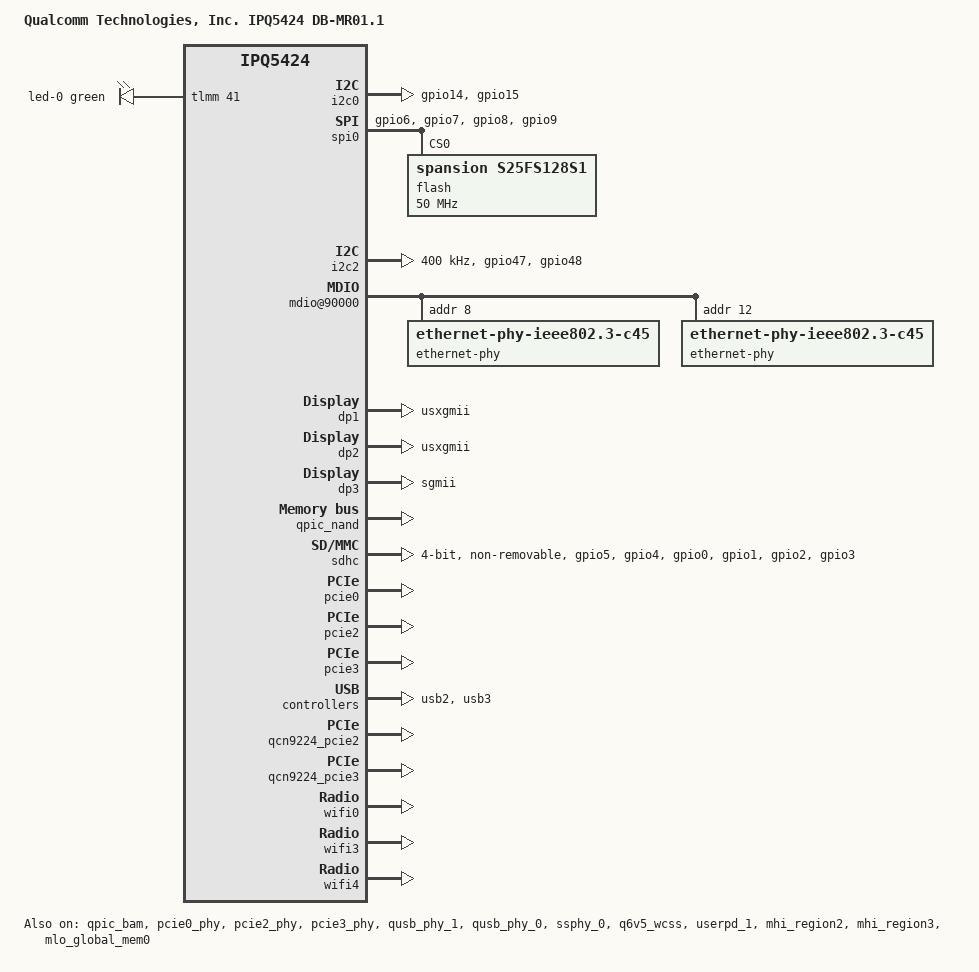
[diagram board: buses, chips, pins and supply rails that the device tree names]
// SPDX-License-Identifier: (GPL-2.0+ OR BSD-3-Clause)
/*
 * IPQ5424 DB MR01.1 board device tree source
 *
 * Copyright (c) 2020-2021 The Linux Foundation. All rights reserved.
 * Copyright (c) 2022-2024 Qualcomm Innovation Center, Inc. All rights reserved.
 */

/dts-v1/;

#include "ipq5424-rdp-common.dtsi"
#ifdef __IPQ_MEM_PROFILE_512_MB__
#include "ipq5424-512MB-default-memory.dtsi"
#else
#include "ipq5424-default-memory.dtsi"
#endif

/ {
	model = "Qualcomm Technologies, Inc. IPQ5424 DB-MR01.1";
	compatible = "qcom,ipq5424-db-mr01.1", "qcom,ipq5424";

	soc@0 {
		qupv3: geniqup@1ac0000 {

			i2c0: i2c@1a88000 {
				pinctrl-0 = <&qup_i2c0_default>;
				pinctrl-names = "default";
				status = "okay";
			};

			spi0: spi@1a90000 {
				pinctrl-0 = <&qup_spi0_default>;
				pinctrl-names = "default";
				status = "okay";

				flash@0 {
					compatible = "spansion,s25fs128s1", "jedec,spi-nor";
					#address-cells = <1>;
					#size-cells = <1>;
					reg = <0>;
					spi-max-frequency = <50000000>;
				};
			};

			/delete-node/ spi@1a94000;

			i2c2: i2c@1a94000 {
				compatible = "qcom,geni-i2c";
				reg = <0x1a94000 0x4000>;
				/* i2c2 shares spi1 clock, so use spi1_clk as per gcc driver */
				clocks = <&gcc GCC_QUPV3_SPI1_CLK>;
				clock-names = "se";
				clock-frequency = <400000>;
				interrupts = <GIC_SPI 344 IRQ_TYPE_LEVEL_HIGH>;
				pinctrl-0 = <&qup_i2c2_default>;
				pinctrl-names = "default";
				status = "okay";
			};
		};

		leds {
			compatible = "gpio-leds";
			pinctrl-0 = <&gpio_leds_default>;
			pinctrl-names = "default";

			led-0 {
				color = <LED_COLOR_ID_GREEN>;
				function = LED_FUNCTION_WLAN;
				gpios = <&tlmm 41 GPIO_ACTIVE_HIGH>;
				linux,default-trigger = "phy0tx";
				default-state = "off";
			};
		};

		mdio@90000 {
			/* GPIO36 is for port 1 QCA81xx PHY */
			/* GPIO37 is for port 2 QCA81xx PHY */
			/* GPIO18 is for QCA8386 switch */
			phy-reset-gpio = <
				&tlmm 36 GPIO_ACTIVE_LOW
				&tlmm 37 GPIO_ACTIVE_LOW
				&tlmm 18 GPIO_ACTIVE_LOW
			>;

			ethernet-phy@4 {
				reg = <8>;
				compatible ="ethernet-phy-ieee802.3-c45";
			};

			ethernet-phy@5 {
				reg = <12>;
				compatible ="ethernet-phy-ieee802.3-c45";
			};
		};

		ess-instance {
#ifdef __CONFIG_IO_COHERENCY__
			dma-coherent;
#endif
			ess-switch@3a000000 {
#ifdef __CONFIG_IO_COHERENCY__
				dma-coherent;
#endif
				switch_cpu_bmp = <0x1>;  /* cpu port bitmap */
				switch_lan_bmp = <0xc>; /* lan port bitmap */
				switch_wan_bmp = <0x2>; /* wan port bitmap */
				switch_mac_mode = <0xd>; /* mac mode for uniphy instance0*/
				switch_mac_mode1 = <0xd>; /* mac mode for uniphy instance1*/

				qcom,port_phyinfo {
					port@0 {
						port_id = <1>;
						phy_address = <8>;
						ethernet-phy-ieee802.3-c45;
					};
					port@1 {
						port_id = <2>;
						phy_address = <12>;
						ethernet-phy-ieee802.3-c45;
					};
				};

				qcom,port_ledinfo {
					port@0 {
						port = <1>;
						led_source@0 {
							source = <0>;
							mode = "normal";
							speed = "all";
							active = "low";
							blink_en = "enable";
						};
					};
					port@1 {
						port = <2>;
						led_source@0 {
							source = <0>;
							mode = "normal";
							speed = "all";
							active = "low";
							blink_en = "enable";
						};
					};
				};
			};
		};

		dp1 {
			device_type = "network";
			compatible = "qcom,nss-dp";
#ifdef __CONFIG_IO_COHERENCY__
			dma-coherent;
#endif
			qcom,id = <1>;
			reg = <0x3A500000 0x4000>;
			qcom,mactype = <1>;
			local-mac-address = [000000000000];
			qcom,phy-mdio-addr = <8>;
			qcom,link-poll = <1>;
			phy-mode = "usxgmii";
		};

		dp2 {
			device_type = "network";
			compatible = "qcom,nss-dp";
#ifdef __CONFIG_IO_COHERENCY__
			dma-coherent;
#endif
			qcom,id = <2>;
			reg = <0x3A504000 0x4000>;
			qcom,mactype = <1>;
			local-mac-address = [000000000000];
			qcom,phy-mdio-addr = <12>;
			qcom,link-poll = <1>;
			phy-mode = "usxgmii";
		};

		dp3 {
			device_type = "network";
			compatible = "qcom,nss-dp";
#ifdef __CONFIG_IO_COHERENCY__
			dma-coherent;
#endif
			qcom,id = <3>;
			reg = <0x3a001400 0x200>;
			qcom,mactype = <0>;
			local-mac-address = [000000000000];
			qcom,mht-dev = <1>;
			qcom,is_switch_connected = <1>;
			phy-mode = "sgmii";
			qcom,ppe-offload-disabled = <1>;
		};

		/* EDMA host driver configuration for the board */
		edma@3ab00000 {
#ifdef __CONFIG_IO_COHERENCY__
			dma-coherent;
#endif
			qcom,txdesc-ring-start = <4>;		/* Tx desc ring start ID */
			qcom,txdesc-rings = <16>;		/* Total number of Tx desc rings to be provisioned */
			qcom,mht-txdesc-rings = <12>;		/* Extra Tx desc rings to be provisioned for MHT SW ports */
			qcom,txcmpl-ring-start = <4>;		/* Tx complete ring start ID */
			qcom,txcmpl-rings = <16>;		/* Total number of Tx complete rings to be provisioned */
			qcom,mht-txcmpl-rings = <12>;		/* Extra Tx complete rings to be provisioned for mht sw ports. */
			qcom,rxfill-ring-start = <4>;		/* Rx fill ring start ID */
			qcom,rxfill-rings = <4>;		/* Total number of Rx fill rings to be provisioned */
			qcom,rxdesc-ring-start = <20>;		/* Rx desc ring start ID */
			qcom,rxdesc-rings = <4>;		/* Total number of Rx desc rings to be provisioned */
			qcom,rx-page-mode = <0>;		/* Rx fill ring page mode */
			qcom,tx-map-priority-level = <1>;	/* Tx priority level per port */
			qcom,rx-map-priority-level = <1>;	/* Rx priority level per core */
			qcom,ppeds-num = <4>;			/* Number of PPEDS nodes */
			/* PPE-DS node format: <Rx-fill Tx-cmpl Rx Tx Queue-base Queue-count> */
			qcom,ppeds-map = <1 1 1 1 32 8>,	/* PPEDS Node #0 ring and queue map */
					<2 2 2 2 40 8>,		/* PPEDS Node #1 ring and queue map */
					<3 3 3 3 48 8>,		/* PPEDS Node #2 ring and queue map */
					<0 0 0 0 56 8>;		/* PPEDS Node #3 ring and queue map */
			qcom,txdesc-map = <4 5 6 7>,		/* Port1 per-core Tx ring map */
					<8 9 10 11>,		/* Port2 per-core Tx ring map */
					<12 13 14 15>,		/* MHT-Port1 per-core Tx ring map */
					<16 17 18 19>,		/* MHT-Port2 per-core Tx ring map */
					<20 21 22 23>,		/* MHT-Port3 per-core Tx ring map */
					<24 25 26 27>,		/* MHT-Port4 per-core Tx ring map */
					<28 29 30 31>;		/* Used only for packets from VP */
			qcom,txdesc-fc-grp-map = <1 2 3 4 5 6>;	/* Per GMAC flow control group map */
			qcom,rxfill-map = <4 5 6 7>;		/* Per-core Rx fill ring map */
			qcom,rxdesc-map = <20 21 22 23>;	/* Per-core Rx desc ring map */
			qcom,rx-queue-start = <0>;		/* Rx queue start */
			qcom,rx-ring-queue-map = <0 8 16 24>,	/* Priority 0 queues per-core Rx ring map */
						<1 9 17 25>,	/* Priority 1 queues per-core Rx ring map */
						<2 10 18 26>,	/* Priority 2 queues per-core Rx ring map */
						<3 11 19 27>,	/* Priority 3 queues per-core Rx ring map */
						<4 12 20 28>,	/* Priority 4 queues per-core Rx ring map */
						<5 13 21 29>,	/* Priority 5 queues per-core Rx ring map */
						<6 14 22 30>,	/* Priority 6 queues per-core Rx ring map */
						<7 15 23 31>;	/* Priority 7 queues per-core Rx ring map */
			interrupts = <0 286 4>,			/* Tx complete ring id #4 IRQ info */
					<0 287 4>,		/* Tx complete ring id #5 IRQ info */
					<0 288 4>,		/* Tx complete ring id #6 IRQ info */
					<0 289 4>,		/* Tx complete ring id #7 IRQ info */
					<0 290 4>,		/* Tx complete ring id #8 IRQ info */
					<0 291 4>,		/* Tx complete ring id #9 IRQ info */
					<0 292 4>,		/* Tx complete ring id #10 IRQ info */
					<0 293 4>,		/* Tx complete ring id #11 IRQ info */
					<0 294 4>,		/* Tx complete ring id #12 IRQ info */
					<0 295 4>,		/* Tx complete ring id #13 IRQ info */
					<0 296 4>,		/* Tx complete ring id #14 IRQ info */
					<0 297 4>,		/* Tx complete ring id #15 IRQ info */
					<0 298 4>,		/* Tx complete ring id #16 IRQ info */
					<0 299 4>,		/* Tx complete ring id #17 IRQ info */
					<0 300 4>,		/* Tx complete ring id #18 IRQ info */
					<0 301 4>,		/* Tx complete ring id #19 IRQ info */
					<0 270 4>,		/* Rx desc ring id #20 IRQ info */
					<0 271 4>,		/* Rx desc ring id #21 IRQ info */
					<0 272 4>,		/* Rx desc ring id #22 IRQ info */
					<0 273 4>,		/* Rx desc ring id #23 IRQ info */
					<0 314 4>,		/* Misc error IRQ info */
					<0 278 4>,		/* RxFill ring id #4 IRQ info */
					<0 279 4>,		/* RxFill ring id #5 IRQ info */
					<0 280 4>,		/* RxFill ring id #6 IRQ info */
					<0 281 4>,		/* RxFill ring id #7 IRQ info */
					<0 283 4>,		/* PPEDS Node #0(TxComp ring id #1) TxComplete IRQ info */
					<0 251 4>,		/* PPEDS Node #0(Rx Desc ring id #1) Rx Desc IRQ info */
					<0 275 4>,		/* PPEDS Node #0(RxFill Desc ring id #1) Rx Fill IRQ info */
					<0 284 4>,		/* PPEDS Node #1(TxComp ring id #2) TxComplete IRQ info */
					<0 252 4>,		/* PPEDS Node #1(Rx Desc ring id #2) Rx Desc IRQ info */
					<0 276 4>,		/* PPEDS Node #1(RxFill Desc ring id #2) Rx Fill IRQ info */
					<0 285 4>,		/* PPEDS Node #2(TxComp ring id #3) TxComplete IRQ info */
                                        <0 253 4>,		/* PPEDS Node #2(Rx Desc ring id #3) Rx Desc IRQ info */
                                        <0 277 4>,		/* PPEDS Node #2(RxFill Desc ring id #3) Rx Fill IRQ info */
					<0 282 4>,		/* PPEDS Node #3(TxComp ring id #0) TxComplete IRQ info */
					<0 250 4>,		/* PPEDS Node #3(Rx Desc ring id #0) Rx Desc IRQ info */
					<0 274 4>,		/* PPEDS Node #3(RxFill Desc ring id #0) Rx Fill IRQ info */
					<0 302 4>,		/* MHT port Tx complete ring id #20 IRQ info */
                                        <0 303 4>,		/* MHT port Tx complete ring id #21 IRQ info */
                                        <0 304 4>,		/* MHT port Tx complete ring id #22 IRQ info */
                                        <0 305 4>,		/* MHT port Tx complete ring id #23 IRQ info */
					<0 306 4>,		/* MHT port Tx complete ring id #24 IRQ info */
					<0 307 4>,		/* MHT port Tx complete ring id #25 IRQ info */
					<0 308 4>,		/* MHT port Tx complete ring id #26 IRQ info */
					<0 309 4>,		/* MHT port Tx complete ring id #27 IRQ info */
					<0 310 4>,		/* MHT port Tx complete ring id #28 IRQ info */
					<0 311 4>,		/* MHT port Tx complete ring id #29 IRQ info */
					<0 312 4>,		/* MHT port Tx complete ring id #30 IRQ info */
					<0 313 4>;		/* MHT port Tx complete ring id #31 IRQ info */
		};

		wsi: wsi {
			id = <0>;
			num_chip = <4>;
			chip_info = <0 2 1 3>,
				    <1 2 0 2>,
				    <2 2 3 1>,
				    <3 2 2 0>;
			status = "okay";
		};
	};
};

&qpic_bam {
	status = "okay";
};

&qpic_nand {
	status = "okay";
};

&sdhc {
	max-frequency = <192000000>;
	bus-width = <4>;
	mmc-ddr-1_8v;
	mmc-hs200-1_8v;
	non-removable;
	pinctrl-0 = <&sdc_default_state>;
	pinctrl-names = "default";
	status = "okay";
};

&pcie0_phy {
	status = "okay";
};

&pcie0 {
	status = "okay";
	perst-gpio = <&tlmm 25 GPIO_ACTIVE_LOW>;

	pcie0_rp {
		reg = <0 0 0 0 0>;

		qcom,mhi@0 {
			reg = <0 0 0 0 0>;
		};
	};
};

&pcie1_phy {
	status = "disabled";
};

&pcie1 {
	perst-gpio = <&tlmm 28 GPIO_ACTIVE_LOW>;
	status = "disabled";

	pcie1_rp {
		reg = <0 0 0 0 0>;

		qcom,mhi@1 {
			reg = <0 0 0 0 0>;
			boot-args = <0x2 0x4 0x34 0x3 0x0 0x0     /* MX Rail, GPIO52, Drive strength 0x3 */
					0x4 0x4 0x18 0x3 0x0 0x0  /* RFA1p2 Rail, GPIO24, Drive strength 0x3 */
					0x0 0x4 0x0 0x0 0x0 0x0>; /* End of arguments */
			memory-region = <&qcn9224_pcie1>, <&mhi_region1>;
			qcom,board_id = <0x21>;
			qcom,wsi = <&wsi>;
			qcom,wsi_index = <2>;
		};
	};
};

&pcie2_phy {
	status = "okay";
};

&pcie2 {
	status = "okay";
	perst-gpio = <&tlmm 31 GPIO_ACTIVE_LOW>;

	pcie2_rp {
		reg = <0 0 0 0 0>;

		qcom,mhi@2 {
			reg = <0 0 0 0 0>;
			boot-args = <0x2 0x4 0x34 0x3 0x0 0x0     /* MX Rail, GPIO52, Drive strength 0x3 */
					0x4 0x4 0x18 0x3 0x0 0x0  /* RFA1p2 Rail, GPIO24, Drive strength 0x3 */
					0x0 0x4 0x0 0x0 0x0 0x0>; /* End of arguments */
			memory-region = <&qcn9224_pcie2>, <&mhi_region2>;
			qcom,board_id = <0x26>;
			qcom,wsi = <&wsi>;
			qcom,wsi_index = <1>;
		};
	};
};

&pcie3_phy {
	status = "okay";
};

&pcie3 {
	status = "okay";
	perst-gpio = <&tlmm 34 GPIO_ACTIVE_LOW>;

	pcie3_rp {
		reg = <0 0 0 0 0>;

		qcom,mhi@3 {
			reg = <0 0 0 0 0>;
			boot-args = <0x2 0x4 0x34 0x3 0x0 0x0     /* MX Rail, GPIO52, Drive strength 0x3 */
					0x4 0x4 0x18 0x3 0x0 0x0  /* RFA1p2 Rail, GPIO24, Drive strength 0x3 */
					0x0 0x4 0x0 0x0 0x0 0x0>; /* End of arguments */
			memory-region = <&qcn9224_pcie3>, <&mhi_region3>;
			qcom,board_id = <0x22>;
			qcom,wsi = <&wsi>;
			qcom,wsi_index = <3>;
		};
	};
};

&qusb_phy_1 {
	status = "okay";
};

&usb2 {
	status = "okay";
};

&qusb_phy_0 {
	status = "okay";
};

&ssphy_0 {
	status = "okay";
};

&usb3 {
	status = "okay";
};

&q6v5_wcss {
	status = "okay";
};

&userpd_1 {
	status = "okay";
};

&tlmm {
	qup_i2c0_default: qup-i2c0-default-state {
		qup_i2c0_scl {
			pins = "gpio14";
			function = "i2c0_scl";
			drive-strength = <8>;
			bias-pull-down;
		};
		qup_i2c0_sda {
			pins = "gpio15";
			function = "i2c0_sda";
			drive-strength = <8>;
			bias-pull-down;
		};
	};

	qup_i2c2_default: qup-i2c2-default-state {
		qup_i2c2_scl {
			pins = "gpio47";
			/* i2c2 shares spi1, so map spi10 function as per pinctrl driver */
			function = "spi10";
			drive-strength = <8>;
			bias-pull-down;
		};

		qup_i2c2_sda {
			pins = "gpio48";
			/* i2c2 shares spi1, so map spi10 function as per pinctrl driver */
			function = "spi10";
			drive-strength = <8>;
			bias-pull-down;
		};
	};

	gpio_leds_default: gpio-leds-default-state {
		pins = "gpio41";
		function = "gpio";
		drive-strength = <8>;
		bias-pull-down;
	};

	pcie0_default_state: pcie0-default-state {
		perst-n-pins {
			pins = "gpio25";
			function = "gpio";
			drive-strength = <8>;
			bias-pull-up;
			output-low;
		};
	};

	pcie1_default_state: pcie1-default-state {
		perst-n-pins {
			pins = "gpio28";
			function = "gpio";
			drive-strength = <8>;
			bias-pull-up;
			output-low;
		};
	};

	pcie2_default_state: pcie2-default-state {
		perst-n-pins {
			pins = "gpio31";
			function = "gpio";
			drive-strength = <8>;
			bias-pull-up;
			output-low;
		};
	};

	pcie3_default_state: pcie3-default-state {
		perst-n-pins {
			pins = "gpio34";
			function = "gpio";
			drive-strength = <8>;
			bias-pull-up;
			output-low;
		};
	};

	qspi_default_state: qspi-default-state {
		qspi_clock {
			pins = "gpio5";
			function = "qspi_clk";
			drive-strength = <8>;
			bias-pull-down;
		};

		qspi_cs {
			pins = "gpio4";
			function = "qspi_cs";
			drive-strength = <8>;
			bias-pull-up;
		};

		qspi_data {
			pins = "gpio0", "gpio1", "gpio2", "gpio3";
			function = "qspi_data";
			drive-strength = <8>;
			bias-pull-down;
		};
	};

	qup_spi0_default: qup-spi0-default-state {
		qup_spi0_clk {
			pins = "gpio6";
			function = "spi0_clk";
			drive-strength = <8>;
			bias-pull-down;
		};

		qup_spi0_cs {
			pins = "gpio7";
			function = "spi0_cs";
			drive-strength = <8>;
			bias-pull-up;
		};

		qup_spi0_miso {
			pins = "gpio8";
			function = "spi0_miso";
			drive-strength = <8>;
			bias-pull-down;
		};

		qup_spi0_mosi {
			pins = "gpio9";
			function = "spi0_mosi";
			drive-strength = <8>;
			bias-pull-down;
		};
	};

	qup_uart1_default: qup-uart1-default-state {
		qup_uart1_tx: tx-pins {
			pins = "gpio44";
			function = "uart1_tx";
			drive-strength = <8>;
			bias-pull-down;
		};

		qup_uart1_rx: rx-pins {
			pins = "gpio43";
			function = "uart1_rx";
			drive-strength = <8>;
			bias-disable;
		};
	};

	sdc_default_state: sdc-default-state {
		clk-pins {
			pins = "gpio5";
			function = "sdc_clk";
			drive-strength = <8>;
			bias-disable;
		};

		cmd-pins {
			pins = "gpio4";
			function = "sdc_cmd";
			drive-strength = <8>;
			bias-pull-up;
		};

		data-pins {
			pins = "gpio0", "gpio1", "gpio2", "gpio3";
			function = "sdc_data";
			drive-strength = <8>;
			bias-pull-up;
		};
	};
};

&qcn9224_pcie1 {
	status = "disabled";
};

&qcn9224_pcie2 {
	status = "okay";
};

&qcn9224_pcie3 {
	status = "okay";
};

#if defined(__MHI_BUS_RESERVED_DMA_POOL__)
&mhi_region1 {
	status = "disabled";
};

&mhi_region2 {
	status = "okay";
};

&mhi_region3 {
	status = "okay";
};
#endif

&mlo_global_mem0 {
	reg = <0x0 0x9b300000 0x0 0x1800000>;
	status = "okay";
};

&wifi0 {
	qcom,rproc = <&q6v5_wcss>;
	qcom,tgt-mem-mode = <0>;
	memory-region = <&q6_region>;
	qcom,wsi = <&wsi>;
	qcom,wsi_index = <0>;
	qcom,board_id = <0x12>;
	hw_link_id = <0 0>;
	status = "okay";
};

&wifi2 {
	hremote_node = <&qcn9224_pcie1>;
	board_id = <0x21>;
	hw_link_id = <3 0>;
	status = "disabled";
};

&wifi3 {
	hremote_node = <&qcn9224_pcie2>;
	board_id = <0x26>;
	hw_link_id = <2 0>;
	status = "okay";
};

&wifi4 {
	hremote_node = <&qcn9224_pcie3>;
	board_id = <0x25>;
	hw_link_id = <1 0>;
	status = "okay";
};
